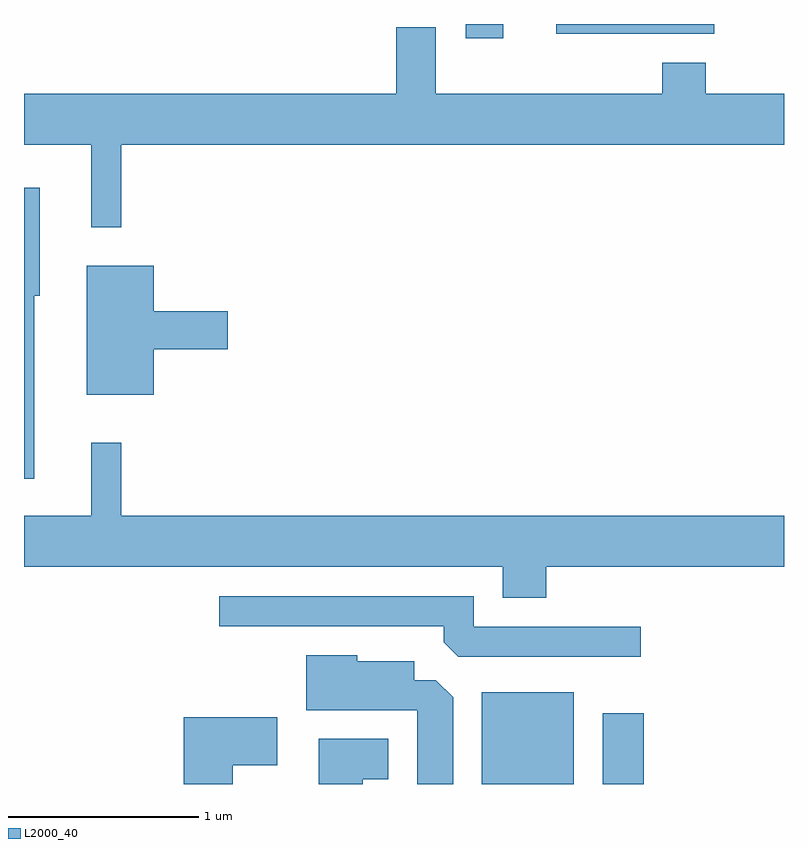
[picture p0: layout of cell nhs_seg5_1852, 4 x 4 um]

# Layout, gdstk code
import gdstk
lib = gdstk.Library(unit=1e-6, precision=1e-09)
def R(c, l, rs):  # rectangles x0, y0, x1, y1
    for r in rs: c.add(gdstk.rectangle(r[:2], r[2:], *l))
def P(c, l, *ps):  # polygons
    for p in ps: c.add(gdstk.Polygon(p, *l))
L2000_40 = (2000, 40)

nhs_seg5_1852 = lib.new_cell('nhs_seg5_1852')
R(nhs_seg5_1852, L2000_40, [(242.021,1480.072,242.504,1480.554), (242.656,1480.072,242.874,1480.444), (241.936,1483.996,242.134,1484.072), (242.413,1484.021,243.244,1484.072)])
P(nhs_seg5_1852, L2000_40, [(240.124,1483.436),(243.611,1483.436),(243.611,1483.704),(243.199,1483.704),(243.199,1483.869),(242.971,1483.869),(242.971,1483.704),(241.779,1483.704),(241.779,1484.054),(241.571,1484.054),(241.571,1483.704),(239.611,1483.704),(239.611,1483.436),(239.966,1483.436),(239.966,1483.003),(240.124,1483.003)],
  [(239.664,1482.641),(239.694,1482.641),(239.694,1483.209),(239.611,1483.209),(239.611,1481.678),(239.664,1481.678)],
  [(240.294,1482.361),(240.684,1482.361),(240.684,1482.559),(240.294,1482.559),(240.294,1482.799),(239.941,1482.799),(239.941,1482.121),(240.294,1482.121)],
  [(242.359,1481.216),(243.611,1481.216),(243.611,1481.484),(240.124,1481.484),(240.124,1481.868),(239.966,1481.868),(239.966,1481.484),(239.611,1481.484),(239.611,1481.216),(242.131,1481.216),(242.131,1481.051),(242.359,1481.051)],
  [(242.858,1480.899),(241.979,1480.899),(241.979,1481.059),(240.638,1481.059),(240.638,1480.901),(241.821,1480.901),(241.821,1480.817),(241.897,1480.741),(242.858,1480.741)],
  [(241.869,1480.529),(241.779,1480.619),(241.664,1480.619),(241.664,1480.719),(241.364,1480.719),(241.364,1480.749),(241.096,1480.749),(241.096,1480.461),(241.681,1480.461),(241.681,1480.072),(241.869,1480.072)],
  [(240.709,1480.171),(240.944,1480.171),(240.944,1480.424),(240.451,1480.424),(240.451,1480.072),(240.709,1480.072)],
  [(241.394,1480.096),(241.529,1480.096),(241.529,1480.309),(241.161,1480.309),(241.161,1480.072),(241.394,1480.072)])

lib.write_gds('nhs_seg5_1852.gds')
